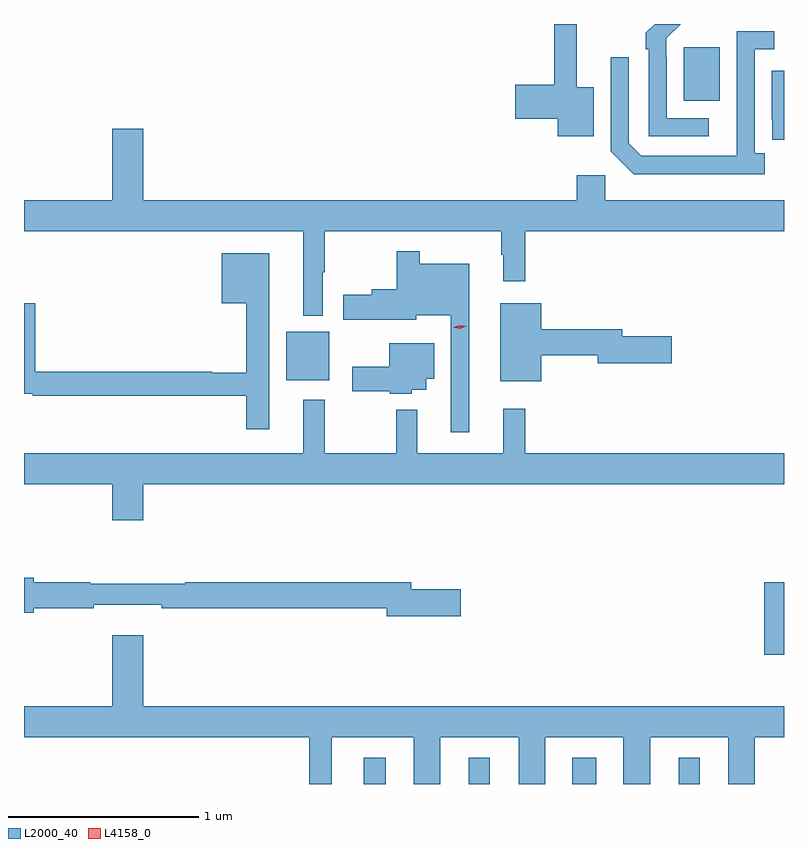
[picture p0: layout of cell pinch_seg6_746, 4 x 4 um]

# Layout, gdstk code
import gdstk
lib = gdstk.Library(unit=1e-6, precision=1e-09)
def R(c, l, rs):  # rectangles x0, y0, x1, y1
    for r in rs: c.add(gdstk.rectangle(r[:2], r[2:], *l))
def P(c, l, *ps):  # polygons
    for p in ps: c.add(gdstk.Polygon(p, *l))
L2000_40 = (2000, 40)
L4158_0 = (4158, 0)

pinch_seg6_746 = lib.new_cell('pinch_seg6_746')
R(pinch_seg6_746, L2000_40, [(262.235,993.711,262.351,993.85), (262.79,993.711,262.9,993.85), (263.333,993.711,263.461,993.85), (263.894,993.711,264.004,993.85), (264.344,994.392,264.448,994.773), (261.827,995.837,262.054,996.091), (263.921,997.307,264.109,997.588)])
P(pinch_seg6_746, L2000_40, [(264.052,997.215),(263.832,997.215),(263.832,997.535),(263.829,997.535),(263.829,997.635),(263.905,997.711),(263.767,997.711),(263.721,997.665),(263.721,997.577),(263.736,997.577),(263.736,997.119),(264.052,997.119)],
  [(263.446,997.378),(263.357,997.378),(263.357,997.711),(263.239,997.711),(263.239,997.391),(263.034,997.391),(263.034,997.213),(263.258,997.213),(263.258,997.121),(263.446,997.121)],
  [(264.346,997.03),(264.294,997.03),(264.294,997.578),(264.397,997.578),(264.397,997.674),(264.198,997.674),(264.198,997.017),(263.697,997.017),(263.631,997.083),(263.631,997.537),(263.535,997.537),(263.535,997.041),(263.656,996.92),(264.346,996.92)],
  [(264.448,997.465),(264.384,997.465),(264.384,997.21),(264.385,997.21),(264.385,997.101),(264.448,997.101)],
  [(262.021,996.404),(262.031,996.404),(262.031,996.62),(262.959,996.62),(262.959,996.497),(262.97,996.497),(262.97,996.357),(263.087,996.357),(263.087,996.62),(264.448,996.62),(264.448,996.784),(263.508,996.784),(263.508,996.916),(263.357,996.916),(263.357,996.784),(261.076,996.784),(261.076,997.159),(260.912,997.159),(260.912,996.784),(260.448,996.784),(260.448,996.62),(261.917,996.62),(261.917,996.176),(262.021,996.176)],
  [(262.792,996.448),(262.531,996.448),(262.531,996.514),(262.41,996.514),(262.41,996.315),(262.277,996.315),(262.277,996.285),(262.128,996.285),(262.128,996.155),(262.512,996.155),(262.512,996.179),(262.695,996.179),(262.695,995.562),(262.792,995.562)],
  [(261.739,996.505),(261.488,996.505),(261.488,996.242),(261.618,996.242),(261.618,995.875),(261.439,995.875),(261.439,995.882),(260.506,995.882),(260.506,996.241),(260.448,996.241),(260.448,995.766),(260.494,995.766),(260.494,995.754),(261.618,995.754),(261.618,995.577),(261.739,995.577)],
  [(263.17,995.968),(263.468,995.968),(263.468,995.926),(263.857,995.926),(263.857,996.068),(263.596,996.068),(263.596,996.104),(263.17,996.104),(263.17,996.241),(262.955,996.241),(262.955,995.831),(263.17,995.831)],
  [(262.488,995.786),(262.564,995.786),(262.564,995.843),(262.606,995.843),(262.606,996.031),(262.37,996.031),(262.37,995.908),(262.176,995.908),(262.176,995.779),(262.374,995.779),(262.374,995.765),(262.488,995.765)],
  [(261.076,995.288),(264.448,995.288),(264.448,995.452),(263.087,995.452),(263.087,995.686),(262.97,995.686),(262.97,995.452),(262.517,995.452),(262.517,995.68),(262.407,995.68),(262.407,995.452),(262.031,995.452),(262.031,995.734),(261.917,995.734),(261.917,995.452),(260.448,995.452),(260.448,995.288),(260.912,995.288),(260.912,995.1),(261.076,995.1)],
  [(262.747,994.736),(262.486,994.736),(262.486,994.772),(261.296,994.772),(261.296,994.765),(260.796,994.765),(260.796,994.772),(260.5,994.772),(260.5,994.796),(260.448,994.796),(260.448,994.613),(260.5,994.613),(260.5,994.636),(260.816,994.636),(260.816,994.655),(261.172,994.655),(261.172,994.636),(262.358,994.636),(262.358,994.594),(262.747,994.594)],
  [(262.069,993.956),(262.499,993.956),(262.499,993.711),(262.639,993.711),(262.639,993.956),(263.051,993.956),(263.051,993.711),(263.191,993.711),(263.191,993.956),(263.603,993.956),(263.603,993.711),(263.743,993.711),(263.743,993.956),(264.155,993.956),(264.155,993.711),(264.295,993.711),(264.295,993.956),(264.448,993.956),(264.448,994.12),(261.076,994.12),(261.076,994.495),(260.912,994.495),(260.912,994.12),(260.448,994.12),(260.448,993.956),(261.948,993.956),(261.948,993.711),(262.069,993.711)])
P(pinch_seg6_746, L4158_0, [(262.742,996.106),(262.706,996.114),(262.706,996.114),(262.706,996.114),(262.74,996.126),(262.776,996.119),(262.776,996.119),(262.776,996.119)])

lib.write_gds('pinch_seg6_746.gds')
